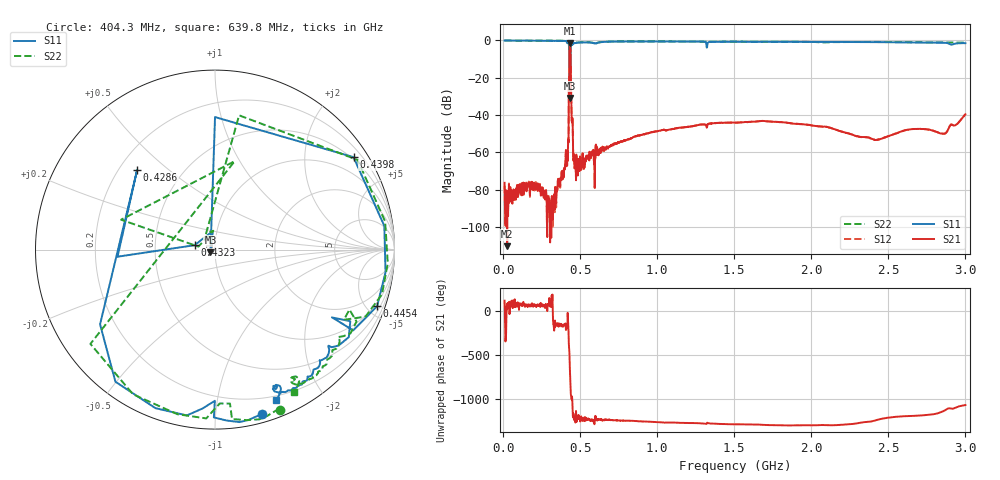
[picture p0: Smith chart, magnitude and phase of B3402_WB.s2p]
! Matrix data file written by TouchstoneData, EPCOS AG
! FILENAME: "B3402_WB.s2p"
! COMMENT: "PCB2023"
! INFO: nport=2, nfreq=1601
! DATE: "Fri Jan 10 2014"
! USER: "Hiroshi Tanaka"
! port | pin | signal
!  1  |  1  |  in
!  2  |  4  |  outa
# MHZ S MA R 50
! freq  magS11 angS11  magS21 angS21  magS12 angS12  magS22 angS22
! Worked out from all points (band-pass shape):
!   1601 points, 10 MHz to 3 GHz, reference 50 ohm
!   highest |S21| = -1.51 dB at 434.2 MHz (marker M1); lowest = -110.2 dB at 26.82 MHz (marker M2)
!   |S21| within 3 dB of the highest: 431.3 MHz to 436.9 MHz (5.615 MHz wide, 1.29 % of centre)
!   lowest |S11| = -30.8 dB at 436.1 MHz (marker M3), VSWR 1.06, Z = 47.5 - j1.34 ohm
!   |S11| at or under -10 dB: 431.1 MHz to 437.5 MHz (6.328 MHz wide, 1.46 % of centre)
!   |S22| runs from -20.5 to 0.0 dB; largest |S21 - S12| = 0.00078
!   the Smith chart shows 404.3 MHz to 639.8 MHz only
!   S11 on the Smith chart (normalised r, x): 404.3 MHz: 0.07, -1.32; 428.6 MHz: 0.27, +0.39; 432.3 MHz: 0.79, +0.04; 439.8 MHz: 0.44, +3.24; 445.4 MHz: 0.78, -5.80; 639.8 MHz: 0.16, -1.47
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10  0.9939 -1.3  0.0001537 117.4  0.0001271 134.7  0.9945 -1.3
26.81875  0.9937 -4.0  3.094e-06 18.4  3.033e-05 -127.5  0.9996 -3.5
337.0312  0.9752 -50.1  0.0001132 -108.6  0.0001192 -111.6  0.9829 -44.7
404.3062  0.9517 -74.1  0.0005124 -143.1  0.0005222 -143.5  0.9615 -68.0
413.65  0.9545 -86.1  0.0006392 -172.9  0.0006339 -173.8  0.9665 -79.5
428.6  0.6208 134.3  0.03614 -67.9  0.03621 -67.8  0.5047 77.4
432.3375  0.1164 167.9  0.7976 115.4  0.798 115.4  0.09387 169.8
434.2063  0.104 96.6  0.8406 24.2  0.841 24.3  0.1055 95.2
436.075  0.02887 -150.8  0.7984 -67.0  0.7987 -67.0  0.1032 118.7
439.8125  0.9279 33.7  0.1124 128.1  0.1124 128.0  0.9385 32.2
445.4187  0.9568 -19.2  0.007364 69.7  0.007372 69.7  0.9633 -15.0
458.5  0.8288 -40.2  0.0006965 -138.3  0.0007038 -138.4  0.8467 -35.0
469.7125  0.8543 -46.3  0.0007707 167.8  0.0007744 168.0  0.8664 -40.0
508.9563  0.884 -56.1  0.0005093 -164.5  0.0005017 -164.3  0.8948 -49.2
639.7687  0.902 -68.0  0.001241 -161.0  0.001247 -160.7  0.9093 -60.9
1007.913  0.9388 -103.0  0.003769 171.7  0.003766 171.5  0.9409 -95.1
1505  0.9246 -132.6  0.00627 147.2  0.006273 147.2  0.93 -126.4
2003.956  0.914 -158.4  0.0053 135.7  0.005299 135.7  0.9138 -153.7
2502.912  0.8963 178.1  0.002744 -136.4  0.002739 -136.6  0.9048 -177.7
2669.231  0.8856 168.1  0.004262 -116.0  0.004252 -116.0  0.8975 173.0
2861.713  0.8712 152.7  0.003184 -58.8  0.003181 -59.0  0.8826 161.1
3000  0.8456 146.3  0.01056 6.8  0.01055 6.6  0.8759 151.2
